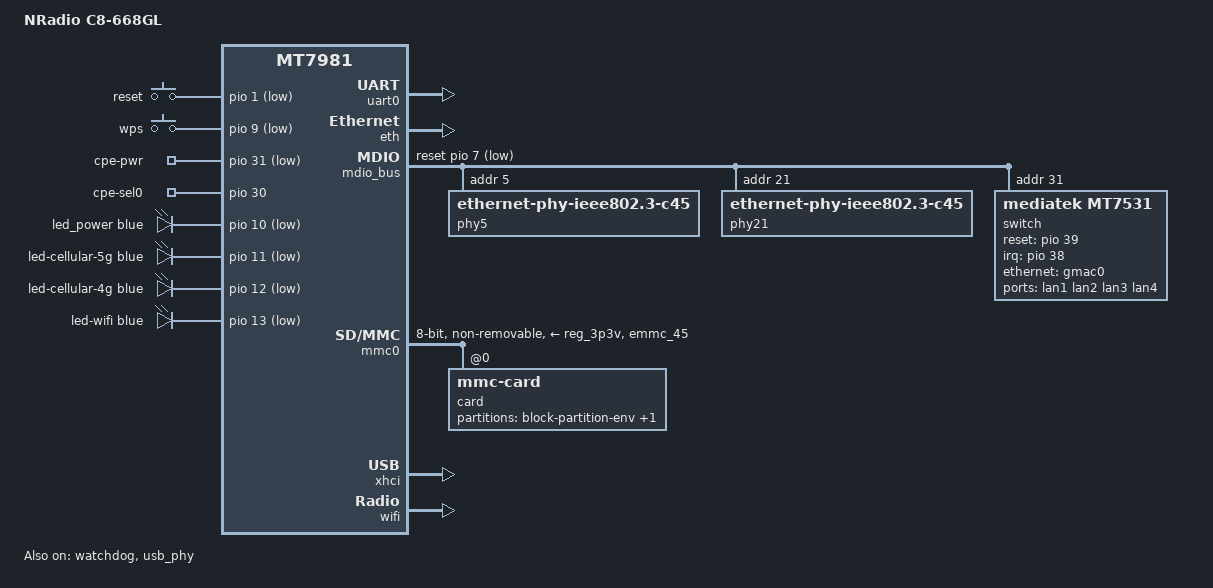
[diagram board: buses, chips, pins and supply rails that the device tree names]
// SPDX-License-Identifier: GPL-2.0-or-later OR MIT

/dts-v1/;

#include "mt7981.dtsi"

/ {
	model = "NRadio C8-668GL";
	compatible = "nradio,c8-668gl", "mediatek,mt7981";

	aliases {
		ethernet0 = &gmac0;
		led-boot = &led_power;
		led-failsafe = &led_power;
		led-running = &led_power;
		led-upgrade = &led_power;
		serial0 = &uart0;
	};

	chosen {
		stdout-path = "serial0:115200n1";
		/* If official system version < 1.9.2.n6.c3, use root=PARTLABEL=rootfs */
		bootargs = "console=ttyS0,115200n1 root=PARTLABEL=rootfs_2nd rootwait";
	};

	gpio-keys {
		compatible = "gpio-keys";

		reset {
			label = "reset";
			linux,code = <KEY_RESTART>;
			gpios = <&pio 1 GPIO_ACTIVE_LOW>;
		};

		wps {
			label = "wps";
			linux,code = <KEY_WPS_BUTTON>;
			gpios = <&pio 9 GPIO_ACTIVE_LOW>;
		};
	};

	gpio-export {
		compatible = "gpio-export";
		#size-cells = <0>;

		cpepower {
			gpio-export,name = "cpe-pwr";
			gpio-export,output = <0>;
			gpios = <&pio 31 GPIO_ACTIVE_LOW>;
		};

		cpesel0 {
			gpio-export,name = "cpe-sel0";
			gpio-export,output = <1>;
			gpios = <&pio 30 GPIO_ACTIVE_HIGH>;
		};
	};

	leds {
		compatible = "gpio-leds";

		led_power: power {
			color = <LED_COLOR_ID_BLUE>;
			function = LED_FUNCTION_POWER;
			gpios = <&pio 10 GPIO_ACTIVE_LOW>;
		};

		led-cellular-5g {
			color = <LED_COLOR_ID_BLUE>;
			function = LED_FUNCTION_INDICATOR;
			function-enumerator = <0>;
			gpios = <&pio 11 GPIO_ACTIVE_LOW>;
		};

		led-cellular-4g {
			color = <LED_COLOR_ID_BLUE>;
			function = LED_FUNCTION_INDICATOR;
			function-enumerator = <1>;
			gpios = <&pio 12 GPIO_ACTIVE_LOW>;
		};

		led-wifi {
			color = <LED_COLOR_ID_BLUE>;
			function = LED_FUNCTION_WLAN;
			gpios = <&pio 13 GPIO_ACTIVE_LOW>;
		};
	};
};

&uart0 {
	status = "okay";
};

&watchdog {
	status = "okay";
};

&eth {
	status = "okay";

	gmac0: mac@0 {
		compatible = "mediatek,eth-mac";
		reg = <0>;
		phy-mode = "2500base-x";

		fixed-link {
			speed = <2500>;
			full-duplex;
			pause;
		};
	};

	gmac1: mac@1 {
		compatible = "mediatek,eth-mac";
		reg = <1>;
		phy-mode = "2500base-x";
		phy-handle = <&phy21>;
	};
};

&mdio_bus {
	reset-gpios = <&pio 7 GPIO_ACTIVE_LOW>, <&pio 8 GPIO_ACTIVE_LOW>;
	reset-delay-us = <600>;
	reset-post-delay-us = <20000>;

	phy5: ethernet-phy@5 {
		reg = <5>;
		compatible = "ethernet-phy-ieee802.3-c45";
		mxl,led-config = <0x3f0 0x330 0x0 0x0>;
	};

	phy21: ethernet-phy@21 {
		reg = <21>;
		compatible = "ethernet-phy-ieee802.3-c45";
	};

	switch: switch@1f {
		compatible = "mediatek,mt7531";
		reg = <31>;
		dsa,member = <0 0>;
		reset-gpios = <&pio 39 GPIO_ACTIVE_HIGH>;
		interrupt-controller;
		#interrupt-cells = <1>;
		interrupt-parent = <&pio>;
		interrupts = <38 IRQ_TYPE_LEVEL_HIGH>;
	};
};

&switch {
	ports {
		#address-cells = <1>;
		#size-cells = <0>;

		port@1 {
			reg = <1>;
			label = "lan1";
		};

		port@2 {
			reg = <2>;
			label = "lan2";
		};

		port@3 {
			reg = <3>;
			label = "lan3";
		};

		port@5 {
			reg = <5>;
			label = "lan4";
			phy-mode = "2500base-x";
			phy-handle = <&phy5>;
		};

		port@6 {
			reg = <6>;
			ethernet = <&gmac0>;
			phy-mode = "2500base-x";

			fixed-link {
				speed = <2500>;
				full-duplex;
				pause;
			};
		};
	};
};

&mmc0 {
	pinctrl-names = "default", "state_uhs";
	pinctrl-0 = <&mmc0_pins_default>;
	pinctrl-1 = <&mmc0_pins_uhs>;
	bus-width = <8>;
	max-frequency = <52000000>;
	cap-mmc-highspeed;
	vmmc-supply = <&reg_3p3v>;
	non-removable;
	status = "okay";

	card@0 {
		compatible = "mmc-card";
		reg = <0>;

		block {
			compatible = "block-device";
			partitions {
				block-partition-env {
					partname = "u-boot-env";

					nvmem-layout {
						compatible = "u-boot,env";
					};
				};

				block-partition-factory {
					partname = "factory";

					nvmem-layout {
						compatible = "fixed-layout";
						#address-cells = <1>;
						#size-cells = <1>;

						eeprom_factory_0: eeprom@0 {
							reg = <0x0 0x1000>;
						};
					};
				};
			};
		};
	};
};

&pio {
	mmc0_pins_default: mmc0-pins-default {
		mux {
			function = "flash";
			groups = "emmc_45";
		};
	};

	mmc0_pins_uhs: mmc0-pins-uhs {
		mux {
			function = "flash";
			groups = "emmc_45";
		};
	};
};

&usb_phy {
	status = "okay";
};

&xhci {
	status = "okay";
};

&wifi {
	nvmem-cells = <&eeprom_factory_0>;
	nvmem-cell-names = "eeprom";
	status = "okay";
};
